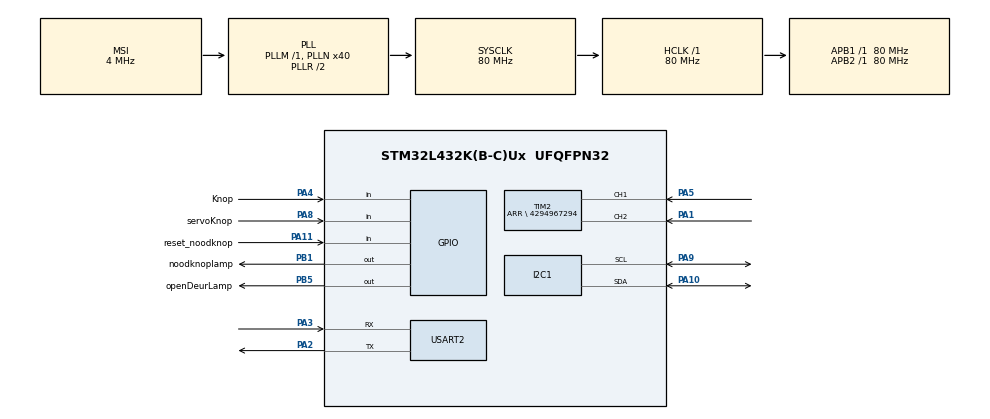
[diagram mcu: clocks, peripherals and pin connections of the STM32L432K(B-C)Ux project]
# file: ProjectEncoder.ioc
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I2C1.OwnAddress=20
I2C1.Timing=0x10D19CE4
Mcu.Family=STM32L4
Mcu.Name=STM32L432K(B-C)Ux
Mcu.Package=UFQFPN32
NVIC.I2C1_ER_IRQn=true\:0\:0\:false\:false\:true\:true\:true\:true
NVIC.I2C1_EV_IRQn=true\:0\:0\:false\:false\:true\:true\:true\:true
NVIC.PriorityGroup=NVIC_PRIORITYGROUP_4
PA0.Mode=HSE-External-Clock-Source-for-LittleOrca
PA0.Signal=RCC_CK_IN
PA1.GPIO_ModeDefaultPP=GPIO_MODE_AF_PP
PA1.GPIO_PuPd=GPIO_NOPULL
PA1.GPIO_Speed=GPIO_SPEED_FREQ_LOW
PA1.Signal=S_TIM2_CH2
PA10.Mode=I2C
PA10.Signal=I2C1_SDA
PA11.GPIO_Label=reset_noodknop
PA11.GPIO_PuPd=GPIO_PULLUP
PA11.Signal=GPIO_Input
PA13\ (JTMS-SWDIO).Mode=Serial_Wire
PA13\ (JTMS-SWDIO).Signal=SYS_JTMS-SWDIO
PA14\ (JTCK-SWCLK).Mode=Serial_Wire
PA14\ (JTCK-SWCLK).Signal=SYS_JTCK-SWCLK
PA2.Mode=Asynchronous
PA2.Signal=USART2_TX
PA3.Mode=Asynchronous
PA3.Signal=USART2_RX
PA4.GPIO_Label=Knop
PA4.GPIO_PuPd=GPIO_PULLDOWN
PA4.Signal=GPIO_Input
PA5.GPIO_ModeDefaultPP=GPIO_MODE_AF_PP
PA5.GPIO_PuPd=GPIO_NOPULL
PA5.GPIO_Speed=GPIO_SPEED_FREQ_LOW
PA5.Signal=S_TIM2_CH1
PA8.GPIO_Label=servoKnop
PA8.GPIO_PuPd=GPIO_PULLUP
PA8.Signal=GPIO_Input
PA9.Mode=I2C
PA9.Signal=I2C1_SCL
PB1.GPIO_Label=noodknoplamp
PB1.Signal=GPIO_Output
PB5.GPIO_Label=openDeurLamp
PB5.Signal=GPIO_Output
PC14-OSC32_IN\ (PC14).Mode=LSE-External-Oscillator
PC14-OSC32_IN\ (PC14).Signal=RCC_OSC32_IN
PC15-OSC32_OUT\ (PC15).Mode=LSE-External-Oscillator
PC15-OSC32_OUT\ (PC15).Signal=RCC_OSC32_OUT
ProjectManager.HeapSize=0x200
ProjectManager.StackSize=0x400
ProjectManager.TargetToolchain=STM32CubeIDE
RCC.AHBFreq_Value=80000000
RCC.APB1Freq_Value=80000000
RCC.APB1TimFreq_Value=80000000
RCC.APB2Freq_Value=80000000
RCC.APB2TimFreq_Value=80000000
RCC.CortexFreq_Value=80000000
RCC.HCLKFreq_Value=80000000
RCC.HSE_VALUE=8000000
RCC.HSI16_VALUE=16000000
RCC.HSI48_VALUE=48000000
RCC.HSI_VALUE=16000000
RCC.MSI_VALUE=4000000
RCC.PLLMUL=RCC_PLLMUL_4
RCC.PLLN=40
RCC.SYSCLKFreq_VALUE=80000000
RCC.SYSCLKSource=RCC_SYSCLKSOURCE_PLLCLK
RCC.VCOOutputFreq_Value=160000000
SH.S_TIM2_CH1.0=TIM2_CH1,Encoder_Interface
SH.S_TIM2_CH2.0=TIM2_CH2,Encoder_Interface
TIM2.EncoderMode=TIM_ENCODERMODE_TI12
TIM2.IC1Filter=10
TIM2.IC1Polarity=TIM_ICPOLARITY_FALLING
TIM2.IC2Polarity=TIM_ICPOLARITY_FALLING
TIM2.Period=\ 4294967294
USART2.VirtualMode-Asynchronous=VM_ASYNC
board=NUCLEO-L432KC

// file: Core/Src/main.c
/* USER CODE BEGIN Header */
/**
 ******************************************************************************
 * @file           : main.c
 * @brief          : Main program body
 ******************************************************************************
 * @attention
 *
 * Copyright (c) 2025 STMicroelectronics.
 * All rights reserved.
 *
 * This software is licensed under terms that can be found in the LICENSE file
 * in the root directory of this software component.
 * If no LICENSE file comes with this software, it is provided AS-IS.
 *
 ******************************************************************************
 */
/* USER CODE END Header */
#include "main.h"

/* USER CODE BEGIN Includes */
#include <stdio.h>
/* USER CODE END Includes */

I2C_HandleTypeDef hi2c1;

TIM_HandleTypeDef htim2;

UART_HandleTypeDef huart2;

/* USER CODE BEGIN PV */
uint8_t RX_Buffer [1] ;
char buffer[20];
char tekstbuffer[50];
char Test[] = "test\n";
char Verstuurd[] = "Verstuurd\n";
char noodknop[] = "knop is ingedrukt\n\r";
char geen_noodknop[] = "nee\n\r";
uint32_t rawCounter = 0;
uint8_t knopStatus = 0; // Variabele om de knopstatus op te slaan
uint8_t servoKnop = 0;
uint8_t reset_noodknop_status = 0;
uint8_t noodknoplamp = 0;
uint8_t deurOpenLampAan = 0;
uint32_t deurOpenLampTijd = 0;
/* USER CODE END PV */

void SystemClock_Config(void);
static void MX_GPIO_Init(void);
static void MX_TIM2_Init(void);
static void MX_USART2_UART_Init(void);
static void MX_I2C1_Init(void);

int main(void)
{

  /* MCU Configuration--------------------------------------------------------*/

  /* Reset of all peripherals, Initializes the Flash interface and the Systick. */
  HAL_Init();

  /* Configure the system clock */
  SystemClock_Config();

  /* Initialize all configured peripherals */
  MX_GPIO_Init();
  MX_TIM2_Init();
  MX_USART2_UART_Init();
  MX_I2C1_Init();
  /* USER CODE BEGIN 2 */
  	HAL_I2C_Slave_Receive_IT(&hi2c1, RX_Buffer, 1);
	HAL_TIM_Encoder_Start(&htim2, TIM_CHANNEL_ALL);
  /* USER CODE END 2 */

  /* Infinite loop */
  /* USER CODE BEGIN WHILE */
	while (1) {
		reset_noodknop_status = !HAL_GPIO_ReadPin(GPIOA, GPIO_PIN_11); //als resetknop wordt ingedrukt gaat lamp uit
			if(reset_noodknop_status == 1){
				HAL_UART_Transmit(&huart2, (uint8_t*) noodknop, strlen(noodknop), 1000);
				HAL_GPIO_WritePin(GPIOB, GPIO_PIN_1, GPIO_PIN_RESET);
				noodknoplamp = 0;
			}
			else{
				HAL_UART_Transmit(&huart2, (uint8_t*) geen_noodknop, strlen(geen_noodknop), 1000);
			}
		//Het draaien aan de encoder wordt gelezen. de verlichting op de Wemos wordt feller of gedimd
		rawCounter = counterLezen();
		//Indrukken van de encoder wordt gelezen. Verlichting op de Wemos gaat aan/uit.
		knopStatus = encoderKnopLezen();
		if(servoKnop == 0){
			//servoknop wordt gelezen
			servoKnop = servoKnopLezen();
		}
		if (servoKnop == 1 && deurOpenLampAan == 0) {
		    HAL_GPIO_WritePin(openDeurLamp_GPIO_Port, openDeurLamp_Pin, GPIO_PIN_SET);
		    deurOpenLampTijd = HAL_GetTick();
		    deurOpenLampAan = 1;
		}
		if (deurOpenLampAan && (HAL_GetTick() - deurOpenLampTijd >= 7000)) {
		    HAL_GPIO_WritePin(openDeurLamp_GPIO_Port, openDeurLamp_Pin, GPIO_PIN_RESET);
		    deurOpenLampAan = 0;
		    servoKnop = 0;
		}
		if (noodknoplamp == 1){
			//Ledje wordt aangezet
			HAL_GPIO_WritePin(noodknoplamp_GPIO_Port, noodknoplamp_Pin, GPIO_PIN_SET);
			HAL_UART_Transmit(&huart2, (uint8_t*) "lamp moet aan zijn", strlen("lamp moet aan zijn"), 1000);
		}
		  }
    /* USER CODE END WHILE */

}

void SystemClock_Config(void)
{
  RCC_OscInitTypeDef RCC_OscInitStruct = {0};
  RCC_ClkInitTypeDef RCC_ClkInitStruct = {0};

  /** Configure the main internal regulator output voltage
  */
  if (HAL_PWREx_ControlVoltageScaling(PWR_REGULATOR_VOLTAGE_SCALE1) != HAL_OK)
  {
    Error_Handler();
  }

  /** Configure LSE Drive Capability
  */
  HAL_PWR_EnableBkUpAccess();
  __HAL_RCC_LSEDRIVE_CONFIG(RCC_LSEDRIVE_LOW);

  /** Initializes the RCC Oscillators according to the specified parameters
  * in the RCC_OscInitTypeDef structure.
  */
  RCC_OscInitStruct.OscillatorType = RCC_OSCILLATORTYPE_LSE|RCC_OSCILLATORTYPE_MSI;
  RCC_OscInitStruct.LSEState = RCC_LSE_ON;
  RCC_OscInitStruct.MSIState = RCC_MSI_ON;
  RCC_OscInitStruct.MSICalibrationValue = 0;
  RCC_OscInitStruct.MSIClockRange = RCC_MSIRANGE_6;
  RCC_OscInitStruct.PLL.PLLState = RCC_PLL_ON;
  RCC_OscInitStruct.PLL.PLLSource = RCC_PLLSOURCE_MSI;
  RCC_OscInitStruct.PLL.PLLM = 1;
  RCC_OscInitStruct.PLL.PLLN = 40;
  RCC_OscInitStruct.PLL.PLLP = RCC_PLLP_DIV7;
  RCC_OscInitStruct.PLL.PLLQ = RCC_PLLQ_DIV2;
  RCC_OscInitStruct.PLL.PLLR = RCC_PLLR_DIV2;
  if (HAL_RCC_OscConfig(&RCC_OscInitStruct) != HAL_OK)
  {
    Error_Handler();
  }

  /** Initializes the CPU, AHB and APB buses clocks
  */
  RCC_ClkInitStruct.ClockType = RCC_CLOCKTYPE_HCLK|RCC_CLOCKTYPE_SYSCLK
                              |RCC_CLOCKTYPE_PCLK1|RCC_CLOCKTYPE_PCLK2;
  RCC_ClkInitStruct.SYSCLKSource = RCC_SYSCLKSOURCE_PLLCLK;
  RCC_ClkInitStruct.AHBCLKDivider = RCC_SYSCLK_DIV1;
  RCC_ClkInitStruct.APB1CLKDivider = RCC_HCLK_DIV1;
  RCC_ClkInitStruct.APB2CLKDivider = RCC_HCLK_DIV1;

  if (HAL_RCC_ClockConfig(&RCC_ClkInitStruct, FLASH_LATENCY_4) != HAL_OK)
  {
    Error_Handler();
  }

  /** Enable MSI Auto calibration
  */
  HAL_RCCEx_EnableMSIPLLMode();
}

static void MX_I2C1_Init(void)
{

  hi2c1.Instance = I2C1;
  hi2c1.Init.Timing = 0x10D19CE4;
  hi2c1.Init.OwnAddress1 = 40;
  hi2c1.Init.AddressingMode = I2C_ADDRESSINGMODE_7BIT;
  hi2c1.Init.DualAddressMode = I2C_DUALADDRESS_DISABLE;
  hi2c1.Init.OwnAddress2 = 0;
  hi2c1.Init.OwnAddress2Masks = I2C_OA2_NOMASK;
  hi2c1.Init.GeneralCallMode = I2C_GENERALCALL_DISABLE;
  hi2c1.Init.NoStretchMode = I2C_NOSTRETCH_DISABLE;
  if (HAL_I2C_Init(&hi2c1) != HAL_OK)
  {
    Error_Handler();
  }

  /** Configure Analogue filter
  */
  if (HAL_I2CEx_ConfigAnalogFilter(&hi2c1, I2C_ANALOGFILTER_ENABLE) != HAL_OK)
  {
    Error_Handler();
  }

  /** Configure Digital filter
  */
  if (HAL_I2CEx_ConfigDigitalFilter(&hi2c1, 0) != HAL_OK)
  {
    Error_Handler();
  }

}

static void MX_TIM2_Init(void)
{

  TIM_Encoder_InitTypeDef sConfig = {0};
  TIM_MasterConfigTypeDef sMasterConfig = {0};

  htim2.Instance = TIM2;
  htim2.Init.Prescaler = 0;
  htim2.Init.CounterMode = TIM_COUNTERMODE_UP;
  htim2.Init.Period = 4294967294;
  htim2.Init.ClockDivision = TIM_CLOCKDIVISION_DIV1;
  htim2.Init.AutoReloadPreload = TIM_AUTORELOAD_PRELOAD_DISABLE;
  sConfig.EncoderMode = TIM_ENCODERMODE_TI12;
  sConfig.IC1Polarity = TIM_ICPOLARITY_FALLING;
  sConfig.IC1Selection = TIM_ICSELECTION_DIRECTTI;
  sConfig.IC1Prescaler = TIM_ICPSC_DIV1;
  sConfig.IC1Filter = 10;
  sConfig.IC2Polarity = TIM_ICPOLARITY_FALLING;
  sConfig.IC2Selection = TIM_ICSELECTION_DIRECTTI;
  sConfig.IC2Prescaler = TIM_ICPSC_DIV1;
  sConfig.IC2Filter = 0;
  if (HAL_TIM_Encoder_Init(&htim2, &sConfig) != HAL_OK)
  {
    Error_Handler();
  }
  sMasterConfig.MasterOutputTrigger = TIM_TRGO_RESET;
  sMasterConfig.MasterSlaveMode = TIM_MASTERSLAVEMODE_DISABLE;
  if (HAL_TIMEx_MasterConfigSynchronization(&htim2, &sMasterConfig) != HAL_OK)
  {
    Error_Handler();
  }

}

static void MX_USART2_UART_Init(void)
{

  huart2.Instance = USART2;
  huart2.Init.BaudRate = 115200;
  huart2.Init.WordLength = UART_WORDLENGTH_8B;
  huart2.Init.StopBits = UART_STOPBITS_1;
  huart2.Init.Parity = UART_PARITY_NONE;
  huart2.Init.Mode = UART_MODE_TX_RX;
  huart2.Init.HwFlowCtl = UART_HWCONTROL_NONE;
  huart2.Init.OverSampling = UART_OVERSAMPLING_16;
  huart2.Init.OneBitSampling = UART_ONE_BIT_SAMPLE_DISABLE;
  huart2.AdvancedInit.AdvFeatureInit = UART_ADVFEATURE_NO_INIT;
  if (HAL_UART_Init(&huart2) != HAL_OK)
  {
    Error_Handler();
  }

}

static void MX_GPIO_Init(void)
{
  GPIO_InitTypeDef GPIO_InitStruct = {0};

  /* GPIO Ports Clock Enable */
  __HAL_RCC_GPIOC_CLK_ENABLE();
  __HAL_RCC_GPIOA_CLK_ENABLE();
  __HAL_RCC_GPIOB_CLK_ENABLE();

  /*Configure GPIO pin Output Level */
  HAL_GPIO_WritePin(GPIOB, noodknoplamp_Pin|openDeurLamp_Pin, GPIO_PIN_RESET);

  /*Configure GPIO pin : Knop_Pin */
  GPIO_InitStruct.Pin = Knop_Pin;
  GPIO_InitStruct.Mode = GPIO_MODE_INPUT;
  GPIO_InitStruct.Pull = GPIO_PULLDOWN;
  HAL_GPIO_Init(Knop_GPIO_Port, &GPIO_InitStruct);

  /*Configure GPIO pins : noodknoplamp_Pin openDeurLamp_Pin */
  GPIO_InitStruct.Pin = noodknoplamp_Pin|openDeurLamp_Pin;
  GPIO_InitStruct.Mode = GPIO_MODE_OUTPUT_PP;
  GPIO_InitStruct.Pull = GPIO_NOPULL;
  GPIO_InitStruct.Speed = GPIO_SPEED_FREQ_LOW;
  HAL_GPIO_Init(GPIOB, &GPIO_InitStruct);

  /*Configure GPIO pins : servoKnop_Pin reset_noodknop_Pin */
  GPIO_InitStruct.Pin = servoKnop_Pin|reset_noodknop_Pin;
  GPIO_InitStruct.Mode = GPIO_MODE_INPUT;
  GPIO_InitStruct.Pull = GPIO_PULLUP;
  HAL_GPIO_Init(GPIOA, &GPIO_InitStruct);

}

/* USER CODE BEGIN 4 */
void HAL_I2C_SlaveRxCpltCallback(I2C_HandleTypeDef *hi2c)
{
    if (hi2c->Instance == I2C1)  // check of het de juiste I2C is
    {
  	  snprintf(tekstbuffer, sizeof(tekstbuffer), "Knop: %d, Positie: %ld ServoKnop: %d\r\n", knopStatus, rawCounter, servoKnop);
  	  HAL_UART_Transmit(&huart2, (uint8_t*) tekstbuffer, strlen(tekstbuffer), 1000);

if(RX_Buffer [0]== 1){
	// De 32 bit waarde wordt verdeeld over 4 bytes. Dus 1 byte = 0-255
  	uint8_t data[4] = {
  	            (uint8_t)( rawCounter        & 0xFF),        // laagste byte
  	            (uint8_t)((rawCounter >> 8)  & 0xFF),
  	            (uint8_t)((rawCounter >> 16) & 0xFF),
  	            (uint8_t)((rawCounter >> 24) & 0xFF)         // hoogste byte
  	        };

  	        uint8_t commando = RX_Buffer[0];

  	        // Check welk byte de master wil (1..4)
  	        if (commando >= 1 && commando <= 4)
  	        {
  	            // stuur de gevraagde byte terug
  	            HAL_I2C_Slave_Transmit_IT(&hi2c1, &data[commando - 1], 1);
  	        }

}

else if(RX_Buffer [0]== 2){

  	            // stuur de knopstatus van de encoder naar de Pi
  	        HAL_I2C_Slave_Transmit_IT(&hi2c1, &knopStatus, 1);
  	        HAL_UART_Transmit(&huart2, (uint8_t*) Verstuurd, strlen(Verstuurd), 1000);

  	      knopStatus =0;

}
else if(RX_Buffer [0]== 3){

  	            // stuur de servoknop status naar de Pi
  	            HAL_I2C_Slave_Transmit_IT(&hi2c1, &servoKnop, 1);

}
else if(RX_Buffer [0]== 4){
	//Reset waarde servoknop
	servoKnop = 0;
	HAL_UART_Transmit(&huart2, (uint8_t*) Test, strlen(Test), 1000);
}

else if(RX_Buffer [0]== 5){

  	          // stuur de reset_noodknop_status
  	          HAL_I2C_Slave_Transmit_IT(&hi2c1, &reset_noodknop_status, 1);

}
else if(RX_Buffer [0]== 6){ //als pi A request 6 stuurt ordt noodknoplamp op 1 gezet waardoor het lampje aangaat
	noodknoplamp = 1;
}
    HAL_I2C_Slave_Receive_IT(&hi2c1, RX_Buffer, 1);

}
}
void HAL_I2C_SlaveTxCpltCallback(I2C_HandleTypeDef *hi2c)
{
    if (hi2c->Instance == I2C1) {
        HAL_I2C_Slave_Receive_IT(&hi2c1, RX_Buffer, 1);
    }
}
/* USER CODE END 4 */

void Error_Handler(void)
{
	__disable_irq();
	while (1) {
	}
}
